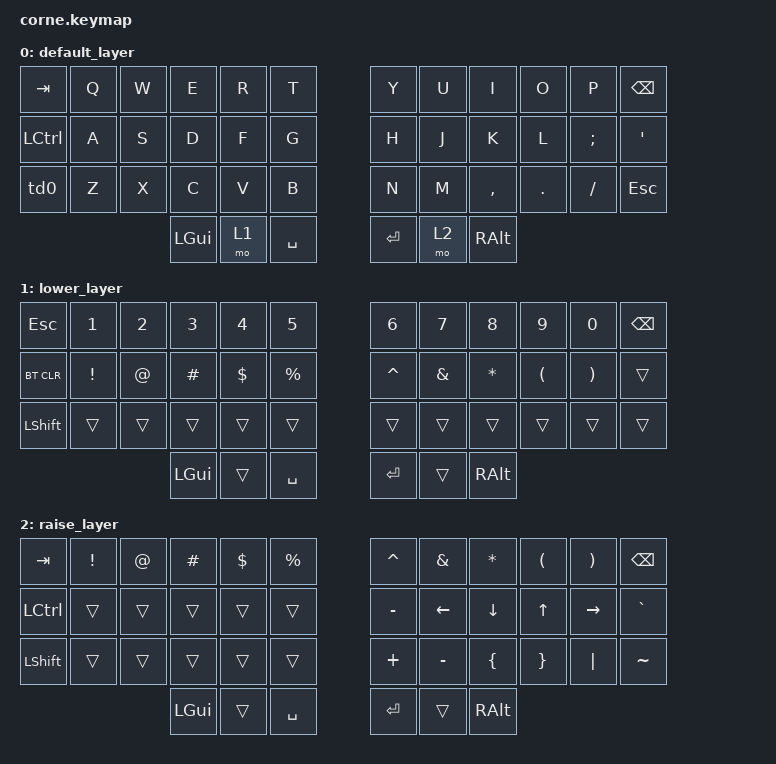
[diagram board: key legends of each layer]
/*
 * Copyright (c) 2020 The ZMK Contributors
 *
 * SPDX-License-Identifier: MIT
 */

#include <behaviors.dtsi>
#include <dt-bindings/zmk/keys.h>
#include <dt-bindings/zmk/bt.h>

/ {
        behaviors {
                td0: td0 {
                    compatible = "zmk,behavior-tap-dance";
                    display-name = "Shift/Caps Lock Tap Dance";
                    #binding-cells = <0>;
                    bindings = <&kp LEFT_SHIFT>, <&kp CAPS>;
                };
        };
        keymap {
                compatible = "zmk,keymap";

                default_layer {
// -----------------------------------------------------------------------------------------
// |  TAB |  Q  |  W  |  E  |  R  |  T  |   |  Y  |  U   |  I  |  O  |  P  | BSPC |
// | CTRL |  A  |  S  |  D  |  F  |  G  |   |  H  |  J   |  K  |  L  |  ;  |  '   |
// | SHFT |  Z  |  X  |  C  |  V  |  B  |   |  N  |  M   |  ,  |  .  |  /  | ESC  |
//                    | GUI | LWR | SPC |   | ENT | RSE  | ALT |
                        bindings = <
   &kp TAB   &kp Q &kp W &kp E &kp R &kp T   &kp Y &kp U  &kp I     &kp O   &kp P    &kp BSPC
   &kp LCTRL &kp A &kp S &kp D &kp F &kp G   &kp H &kp J  &kp K     &kp L   &kp SEMI &kp SQT
   &td0      &kp Z &kp X &kp C &kp V &kp B   &kp N &kp M  &kp COMMA &kp DOT &kp FSLH &kp ESC
                  &kp LGUI &mo 1 &kp SPACE   &kp RET &mo 2 &kp RALT
                        >;
                };
                lower_layer {
// -----------------------------------------------------------------------------------------
// |  TAB |  1  |  2  |  3  |  4  |  5  |   |  6  |  7  |  8  |  9  |  0  | BSPC |
// | BTCLR|  !  |  @  |  #  |  $  |  %  |   |  ^  |  &  |  *  |  (  |  )  |
// | SHFT |     |     |     |     |     |   |    |     |     |     |     |      |
//                    | GUI |     | SPC |   | ENT |     | ALT |
                        bindings = <
   &kp ESC    &kp N1       &kp N2       &kp N3       &kp N4       &kp N5         &kp N6    &kp N7    &kp N8    &kp N9    &kp N0   &kp BSPC
   &bt BT_CLR &kp EXCL     &kp AT       &kp HASH     &kp DLLR     &kp PRCNT      &kp CARET &kp AMPS  &kp ASTRK &kp LPAR  &kp RPAR &trans
   &kp LSHFT  &trans       &trans       &trans       &trans       &trans         &trans    &trans    &trans    &trans    &trans   &trans
                                    &kp LGUI     &trans       &kp SPACE      &kp RET  &trans   &kp RALT
                        >;
                };

                raise_layer {
// -----------------------------------------------------------------------------------------
// |  TAB |  !  |  @  |  #  |  $  |  %  |   |  ^  |  &  |  *  |  (  |  )  | BSPC |
// | CTRL |     |     |     |     |     |   |  -  | LFT | DWN |  UP | RGT |  `   |
// | SHFT |     |     |     |     |     |   |  + |  -  |  =  |  [   | ]   |  \   |
//                    | GUI |     | SPC |   | ENT |     | ALT |
                        bindings = <
   &kp  TAB  &kp EXCL &kp AT &kp HASH &kp DLLR &kp PRCNT   &kp CARET &kp AMPS  &kp ASTRK  &kp LPAR  &kp RPAR  &kp BSPC
   &kp LCTRL &trans   &trans &trans   &trans   &trans      &kp MINUS &kp LEFT  &kp DOWN   &kp UP    &kp RIGHT &kp GRAVE
   &kp LSHFT &trans   &trans &trans   &trans   &trans      &kp PLUS &kp MINUS  &kp LBRC   &kp RBRC  &kp PIPE  &kp TILDE
                             &kp LGUI &trans   &kp SPACE   &kp RET   &trans    &kp RALT
                        >;
                };
        };
};
